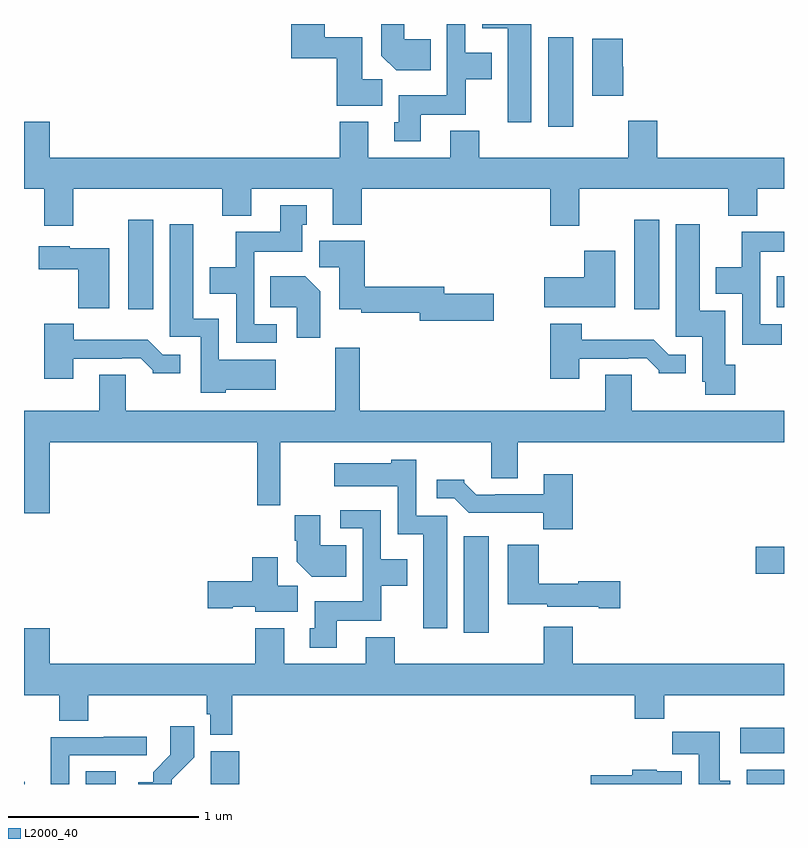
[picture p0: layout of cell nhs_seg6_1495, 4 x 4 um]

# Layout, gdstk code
import gdstk
lib = gdstk.Library(unit=1e-6, precision=1e-09)
def R(c, l, rs):  # rectangles x0, y0, x1, y1
    for r in rs: c.add(gdstk.rectangle(r[:2], r[2:], *l))
def P(c, l, *ps):  # polygons
    for p in ps: c.add(gdstk.Polygon(p, *l))
L2000_40 = (2000, 40)

nhs_seg6_1495 = lib.new_cell('nhs_seg6_1495')
R(nhs_seg6_1495, L2000_40, [(201,981.5,201.004,981.512), (201.326,981.5,201.484,981.566), (201.983,981.5,202.133,981.673), (204.803,981.5,205,981.574), (204.771,981.662,205,981.796), (203.315,982.296,203.446,982.804), (204.852,982.606,205,982.748), (201.548,984,201.679,984.469), (204.212,984,204.343,984.469), (204.961,984.008,205,984.172), (203.759,984.96,203.89,985.429)])
P(nhs_seg6_1495, L2000_40, [(203.671,985.5),(203.412,985.5),(203.412,985.478),(203.546,985.478),(203.546,984.984),(203.671,984.984)],
  [(203.089,985.022),(203.325,985.022),(203.325,985.208),(203.461,985.208),(203.461,985.348),(203.322,985.348),(203.322,985.5),(203.226,985.5),(203.226,985.126),(202.973,985.126),(202.973,984.984),(202.949,984.984),(202.949,984.882),(203.089,984.882)],
  [(203.141,985.42),(203.002,985.42),(203.002,985.5),(202.88,985.5),(202.88,985.334),(202.958,985.256),(203.141,985.256)],
  [(202.885,985.208),(202.78,985.208),(202.78,985.429),(202.584,985.429),(202.584,985.5),(202.406,985.5),(202.406,985.319),(202.646,985.319),(202.646,985.07),(202.885,985.07)],
  [(204.154,985.275),(204.152,985.275),(204.152,985.423),(203.99,985.423),(203.99,985.122),(204.154,985.122)],
  [(201.259,984.632),(202.043,984.632),(202.043,984.491),(202.195,984.491),(202.195,984.632),(202.625,984.632),(202.625,984.443),(202.778,984.443),(202.778,984.632),(203.771,984.632),(203.771,984.438),(203.923,984.438),(203.923,984.632),(204.707,984.632),(204.707,984.491),(204.859,984.491),(204.859,984.632),(205,984.632),(205,984.796),(204.332,984.796),(204.332,984.991),(204.179,984.991),(204.179,984.796),(203.396,984.796),(203.396,984.937),(203.243,984.937),(203.243,984.796),(202.813,984.796),(202.813,984.985),(202.661,984.985),(202.661,984.796),(201.136,984.796),(201.136,984.985),(201,984.985),(201,984.632),(201.107,984.632),(201.107,984.438),(201.259,984.438)],
  [(202.33,983.919),(202.212,983.919),(202.212,984.302),(202.465,984.302),(202.465,984.444),(202.489,984.444),(202.489,984.547),(202.349,984.547),(202.349,984.406),(202.114,984.406),(202.114,984.22),(201.977,984.22),(201.977,984.08),(202.116,984.08),(202.116,983.823),(202.33,983.823)],
  [(202.062,983.576),(202.324,983.576),(202.324,983.734),(202.026,983.734),(202.026,983.95),(201.892,983.95),(201.892,984.445),(201.767,984.445),(201.767,983.853),(201.93,983.853),(201.93,983.558),(202.062,983.558)],
  [(204.743,983.706),(204.691,983.706),(204.691,983.992),(204.556,983.992),(204.556,984.445),(204.431,984.445),(204.431,983.853),(204.569,983.853),(204.569,983.616),(204.586,983.616),(204.586,983.55),(204.743,983.55)],
  [(204.988,983.919),(204.876,983.919),(204.876,984.302),(205,984.302),(205,984.406),(204.778,984.406),(204.778,984.22),(204.641,984.22),(204.641,984.08),(204.78,984.08),(204.78,983.811),(204.988,983.811)],
  [(203.473,984.08),(203.212,984.08),(203.212,984.116),(202.793,984.116),(202.793,984.358),(202.553,984.358),(202.553,984.22),(202.658,984.22),(202.658,983.999),(202.774,983.999),(202.774,983.98),(203.084,983.98),(203.084,983.938),(203.473,983.938)],
  [(201.448,984.319),(201.24,984.319),(201.24,984.331),(201.078,984.331),(201.078,984.209),(201.286,984.209),(201.286,984.005),(201.448,984.005)],
  [(204.112,984.307),(203.948,984.307),(203.948,984.166),(203.739,984.166),(203.739,984.008),(204.112,984.008)],
  [(202.558,984.094),(202.48,984.172),(202.297,984.172),(202.297,984.008),(202.436,984.008),(202.436,983.85),(202.558,983.85)],
  [(201.259,983.739),(201.515,983.739),(201.515,983.742),(201.614,983.742),(201.678,983.678),(201.678,983.663),(201.823,983.663),(201.823,983.76),(201.729,983.76),(201.651,983.839),(201.262,983.839),(201.262,983.923),(201.107,983.923),(201.107,983.634),(201.259,983.634)],
  [(203.923,983.739),(204.179,983.739),(204.179,983.742),(204.278,983.742),(204.342,983.678),(204.342,983.663),(204.484,983.663),(204.484,983.76),(204.393,983.76),(204.315,983.839),(203.936,983.839),(203.936,983.923),(203.771,983.923),(203.771,983.634),(203.923,983.634)],
  [(201.136,983.3),(202.228,983.3),(202.228,982.968),(202.349,982.968),(202.349,983.3),(203.459,983.3),(203.459,983.11),(203.599,983.11),(203.599,983.3),(205,983.3),(205,983.464),(204.199,983.464),(204.199,983.654),(204.059,983.654),(204.059,983.464),(202.766,983.464),(202.766,983.797),(202.638,983.797),(202.638,983.464),(201.535,983.464),(201.535,983.654),(201.395,983.654),(201.395,983.464),(201,983.464),(201,982.926),(201.136,982.926)],
  [(203.227,982.911),(203.064,982.911),(203.064,983.206),(202.932,983.206),(202.932,983.188),(202.632,983.188),(202.632,983.066),(202.968,983.066),(202.968,982.814),(203.102,982.814),(203.102,982.32),(203.227,982.32)],
  [(203.888,983.131),(203.735,983.131),(203.735,983.025),(203.479,983.025),(203.479,983.022),(203.38,983.022),(203.316,983.086),(203.316,983.101),(203.172,983.101),(203.172,983.004),(203.265,983.004),(203.341,982.928),(203.733,982.928),(203.733,982.841),(203.888,982.841)],
  [(202.645,982.358),(202.881,982.358),(202.881,982.544),(203.017,982.544),(203.017,982.684),(202.878,982.684),(202.878,982.941),(202.665,982.941),(202.665,982.845),(202.782,982.845),(202.782,982.462),(202.529,982.462),(202.529,982.32),(202.505,982.32),(202.505,982.218),(202.645,982.218)],
  [(202.697,982.756),(202.558,982.756),(202.558,982.915),(202.424,982.915),(202.424,982.78),(202.436,982.78),(202.436,982.67),(202.514,982.592),(202.697,982.592)],
  [(204.139,982.568),(203.916,982.568),(203.916,982.555),(203.708,982.555),(203.708,982.759),(203.546,982.759),(203.546,982.445),(203.754,982.445),(203.754,982.433),(204.026,982.433),(204.026,982.426),(204.139,982.426)],
  [(202.441,982.544),(202.336,982.544),(202.336,982.693),(202.202,982.693),(202.202,982.568),(201.966,982.568),(201.966,982.426),(202.098,982.426),(202.098,982.433),(202.218,982.433),(202.218,982.406),(202.441,982.406)],
  [(201.136,982.321),(201,982.321),(201,981.968),(201.185,981.968),(201.185,981.832),(201.338,981.832),(201.338,981.968),(201.961,981.968),(201.961,981.867),(201.981,981.867),(201.981,981.758),(202.097,981.758),(202.097,981.968),(204.215,981.968),(204.215,981.844),(204.371,981.844),(204.371,981.968),(205,981.968),(205,982.132),(203.888,982.132),(203.888,982.327),(203.735,982.327),(203.735,982.132),(202.952,982.132),(202.952,982.273),(202.799,982.273),(202.799,982.132),(202.369,982.132),(202.369,982.321),(202.217,982.321),(202.217,982.132),(201.136,982.132)],
  [(201.777,981.523),(201.896,981.642),(201.896,981.805),(201.771,981.805),(201.771,981.653),(201.68,981.563),(201.68,981.508),(201.6,981.508),(201.6,981.5),(201.777,981.5)],
  [(204.718,981.516),(204.661,981.516),(204.661,981.775),(204.412,981.775),(204.412,981.656),(204.551,981.656),(204.551,981.5),(204.718,981.5)],
  [(201.237,981.651),(201.646,981.651),(201.646,981.75),(201.421,981.75),(201.421,981.747),(201.14,981.747),(201.14,981.541),(201.141,981.541),(201.141,981.5),(201.237,981.5)],
  [(204.463,981.568),(204.33,981.568),(204.33,981.574),(204.2,981.574),(204.2,981.546),(203.982,981.546),(203.982,981.5),(204.463,981.5)])

lib.write_gds('nhs_seg6_1495.gds')
